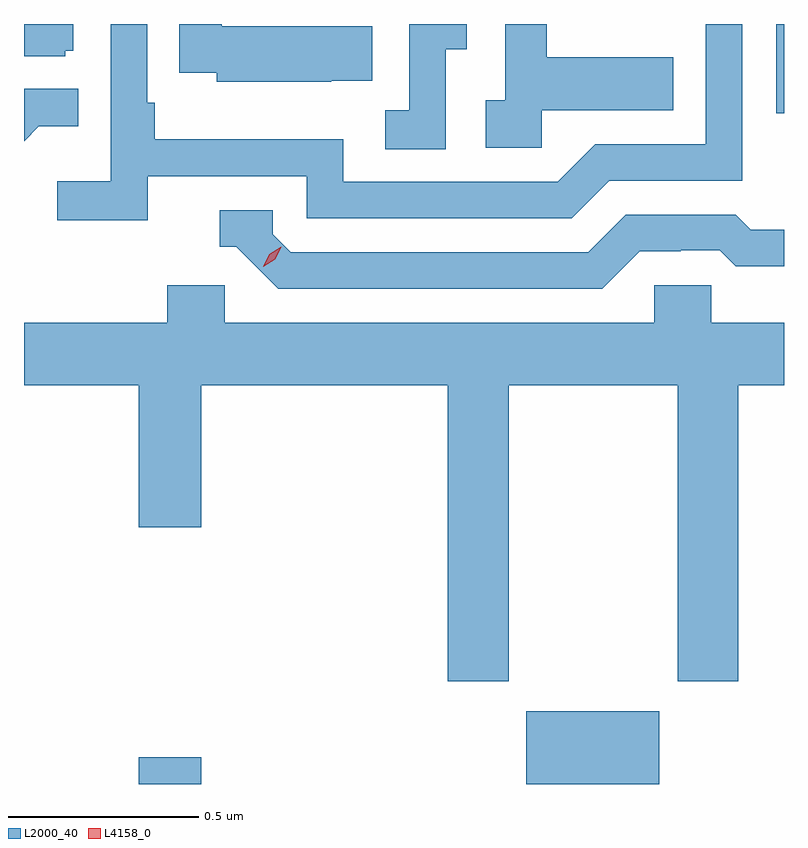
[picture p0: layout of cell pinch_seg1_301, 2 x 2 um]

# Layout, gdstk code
import gdstk
lib = gdstk.Library(unit=1e-6, precision=1e-09)
def R(c, l, rs):  # rectangles x0, y0, x1, y1
    for r in rs: c.add(gdstk.rectangle(r[:2], r[2:], *l))
def P(c, l, *ps):  # polygons
    for p in ps: c.add(gdstk.Polygon(p, *l))
L2000_40 = (2000, 40)
L4158_0 = (4158, 0)

pinch_seg1_301 = lib.new_cell('pinch_seg1_301')
R(pinch_seg1_301, L2000_40, [(944.228,553.346,944.392,553.417), (945.248,553.346,945.598,553.537), (945.906,555.111,945.926,555.346)])
P(pinch_seg1_301, L2000_40, [(945.036,555.28),(945.091,555.28),(945.091,555.346),(944.94,555.346),(944.94,555.119),(944.877,555.119),(944.877,555.016),(945.036,555.016)],
  [(944.735,555.197),(944.843,555.197),(944.843,555.34),(944.446,555.34),(944.446,555.346),(944.335,555.346),(944.335,555.218),(944.433,555.218),(944.433,555.194),(944.735,555.194)],
  [(944.252,554.946),(944.67,554.946),(944.67,554.835),(945.367,554.835),(945.466,554.934),(945.816,554.934),(945.816,555.346),(945.72,555.346),(945.72,555.03),(945.429,555.03),(945.33,554.931),(944.766,554.931),(944.766,555.043),(944.27,555.043),(944.27,555.139),(944.25,555.139),(944.25,555.346),(944.154,555.346),(944.154,554.932),(944.013,554.932),(944.013,554.83),(944.252,554.83)],
  [(945.288,555.119),(945.635,555.119),(945.635,555.259),(945.301,555.259),(945.301,555.346),(945.192,555.346),(945.192,555.146),(945.141,555.146),(945.141,555.021),(945.288,555.021)],
  [(944.034,555.276),(944.056,555.276),(944.056,555.346),(943.926,555.346),(943.926,555.261),(944.034,555.261)],
  [(943.965,555.077),(944.069,555.077),(944.069,555.176),(943.926,555.176),(943.926,555.038)],
  [(945.547,554.748),(945.654,554.748),(945.654,554.751),(945.757,554.751),(945.799,554.709),(945.926,554.709),(945.926,554.805),(945.838,554.805),(945.799,554.844),(945.51,554.844),(945.411,554.745),(944.628,554.745),(944.58,554.793),(944.58,554.856),(944.441,554.856),(944.441,554.76),(944.484,554.76),(944.595,554.649),(945.448,554.649)],
  [(945.201,554.396),(945.646,554.396),(945.646,553.617),(945.806,553.617),(945.806,554.396),(945.926,554.396),(945.926,554.56),(945.735,554.56),(945.735,554.658),(945.585,554.658),(945.585,554.56),(944.454,554.56),(944.454,554.658),(944.303,554.658),(944.303,554.56),(943.926,554.56),(943.926,554.396),(944.228,554.396),(944.228,554.022),(944.392,554.022),(944.392,554.396),(945.041,554.396),(945.041,553.617),(945.201,553.617)])
P(pinch_seg1_301, L4158_0, [(944.556,554.707),(944.556,554.708),(944.572,554.74),(944.603,554.76),(944.603,554.76),(944.603,554.76),(944.587,554.727),(944.556,554.707)])

lib.write_gds('pinch_seg1_301.gds')
